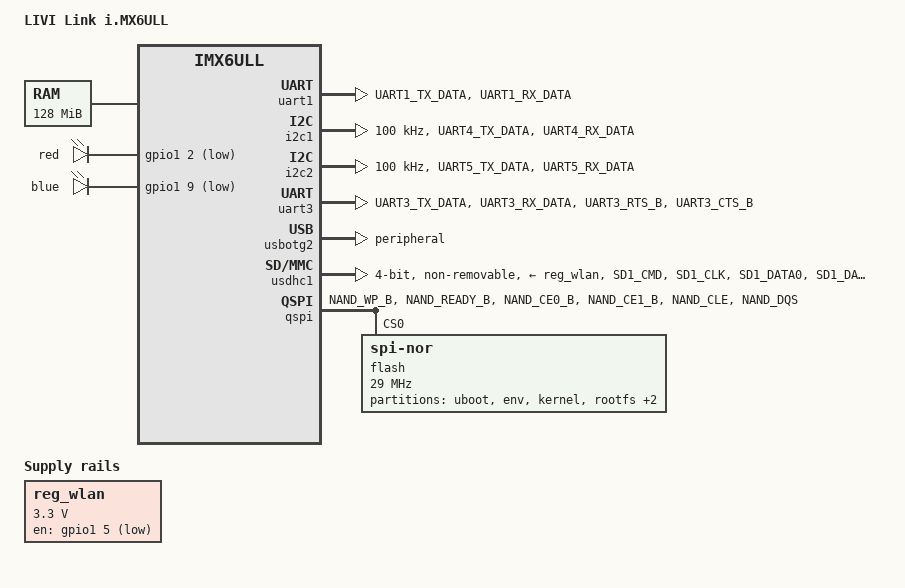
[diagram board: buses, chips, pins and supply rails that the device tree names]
// SPDX-License-Identifier: GPL-2.0
/*
 * LIVI Link on the i.MX6ULL dongle board (128 MiB, 16 MiB QSPI NOR). The board comes with
 * different Wi-Fi/BT modules, what differs is in imx6ull-<module>.dtsi, included at the end.
 * Pin settings are the ones the vendor kernel runs with, read off a running board.
 */
/dts-v1/;

#include <dt-bindings/gpio/gpio.h>
#include "imx6ull.dtsi"

/ {
	model = "LIVI Link i.MX6ULL";
	compatible = "livi,link-imx6ull", "fsl,imx6ull";

	chosen {
		stdout-path = &uart1;
		bootargs = "console=ttymxc0,115200 rdinit=/init";
	};

	memory@80000000 {
		device_type = "memory";
		reg = <0x80000000 0x08000000>;
	};

	/* Enables the Wi-Fi/BT module (PDn). */
	reg_wlan: regulator-wlan {
		compatible = "regulator-fixed";
		regulator-name = "wlan";
		regulator-min-microvolt = <3300000>;
		regulator-max-microvolt = <3300000>;
		gpio = <&gpio1 5 GPIO_ACTIVE_LOW>;
		startup-delay-us = <100000>;
	};

	leds {
		compatible = "gpio-leds";
		pinctrl-names = "default";
		pinctrl-0 = <&pinctrl_leds>;

		/* Red and blue is on from the kernel's start, livi-ledd takes over. */
		led-red {
			label = "red";
			gpios = <&gpio1 2 GPIO_ACTIVE_LOW>;
			default-state = "on";
		};

		led-blue {
			label = "blue";
			gpios = <&gpio1 9 GPIO_ACTIVE_LOW>;
			default-state = "on";
		};
	};
};

&iomuxc {
	pinctrl_uart1: uart1grp {
		fsl,pins = <
			MX6UL_PAD_UART1_TX_DATA__UART1_DCE_TX	0x1b0b1
			MX6UL_PAD_UART1_RX_DATA__UART1_DCE_RX	0x1b0b1
		>;
	};

	/* Both EVK buses, the MFi coprocessor sits on one of them. */
	pinctrl_i2c1: i2c1grp {
		fsl,pins = <
			MX6UL_PAD_UART4_TX_DATA__I2C1_SCL	0x4001b8b0
			MX6UL_PAD_UART4_RX_DATA__I2C1_SDA	0x4001b8b0
		>;
	};

	pinctrl_i2c2: i2c2grp {
		fsl,pins = <
			MX6UL_PAD_UART5_TX_DATA__I2C2_SCL	0x4001b8b0
			MX6UL_PAD_UART5_RX_DATA__I2C2_SDA	0x4001b8b0
		>;
	};

	pinctrl_uart3: uart3grp {
		fsl,pins = <
			MX6UL_PAD_UART3_TX_DATA__UART3_DCE_TX	0x1b0b1
			MX6UL_PAD_UART3_RX_DATA__UART3_DCE_RX	0x1b0b1
			MX6UL_PAD_UART3_RTS_B__UART3_DCE_RTS	0x1b0b1
			MX6UL_PAD_UART3_CTS_B__UART3_DCE_CTS	0x1b0b1
		>;
	};

	pinctrl_qspi: qspigrp {
		fsl,pins = <
			MX6UL_PAD_NAND_WP_B__QSPI_A_SCLK	0x70a1
			MX6UL_PAD_NAND_READY_B__QSPI_A_DATA00	0x70a1
			MX6UL_PAD_NAND_CE0_B__QSPI_A_DATA01	0x70a1
			MX6UL_PAD_NAND_CE1_B__QSPI_A_DATA02	0x70a1
			MX6UL_PAD_NAND_CLE__QSPI_A_DATA03	0x70a1
			MX6UL_PAD_NAND_DQS__QSPI_A_SS0_B	0x70a1
		>;
	};

	pinctrl_usdhc1: usdhc1grp {
		fsl,pins = <
			MX6UL_PAD_SD1_CMD__USDHC1_CMD		0x17059
			MX6UL_PAD_SD1_CLK__USDHC1_CLK		0x10071
			MX6UL_PAD_SD1_DATA0__USDHC1_DATA0	0x17059
			MX6UL_PAD_SD1_DATA1__USDHC1_DATA1	0x17059
			MX6UL_PAD_SD1_DATA2__USDHC1_DATA2	0x17059
			MX6UL_PAD_SD1_DATA3__USDHC1_DATA3	0x17059
			MX6UL_PAD_GPIO1_IO05__GPIO1_IO05	0x17059
		>;
	};

	pinctrl_leds: ledsgrp {
		fsl,pins = <
			MX6UL_PAD_GPIO1_IO02__GPIO1_IO02	0x17059
			MX6UL_PAD_GPIO1_IO09__GPIO1_IO09	0x17059
		>;
	};
};

&uart1 {
	pinctrl-names = "default";
	pinctrl-0 = <&pinctrl_uart1>;
	status = "okay";
};

&i2c1 {
	clock-frequency = <100000>;
	pinctrl-names = "default";
	pinctrl-0 = <&pinctrl_i2c1>;
	status = "okay";
};

&i2c2 {
	clock-frequency = <100000>;
	pinctrl-names = "default";
	pinctrl-0 = <&pinctrl_i2c2>;
	status = "okay";
};

/* The module's Bluetooth half, its node is in the module's .dtsi. */
&uart3 {
	pinctrl-names = "default";
	pinctrl-0 = <&pinctrl_uart3>;
	uart-has-rtscts;
	status = "okay";
};

/* The port the host sees. OTG1 is a host port with its ID pin grounded. */
&usbotg2 {
	dr_mode = "peripheral";
	disable-over-current;
	status = "okay";
};

&usdhc1 {
	pinctrl-names = "default";
	pinctrl-0 = <&pinctrl_usdhc1>;
	bus-width = <4>;
	no-1-8-v;
	non-removable;
	keep-power-in-suspend;
	vmmc-supply = <&reg_wlan>;
	status = "okay";
};

&qspi {
	pinctrl-names = "default";
	pinctrl-0 = <&pinctrl_qspi>;
	status = "okay";

	flash@0 {
		compatible = "jedec,spi-nor";
		reg = <0>;
		spi-max-frequency = <29000000>;
		spi-rx-bus-width = <1>;
		spi-tx-bus-width = <1>;

		partitions {
			compatible = "fixed-partitions";
			#address-cells = <1>;
			#size-cells = <1>;

			/* U-Boot, its signature and the update block. */
			partition@0 {
				label = "uboot";
				reg = <0x0 0x30000>;
				read-only;
			};

			/* Erasing it makes U-Boot convert the staged kernel on the next boot. */
			partition@30000 {
				label = "env";
				reg = <0x30000 0x10000>;
			};

			partition@40000 {
				label = "kernel";
				reg = <0x40000 0x340000>;
			};

			partition@380000 {
				label = "rootfs";
				reg = <0x380000 0xc60000>;
			};

			/* livid's saved settings, livid finds them by this name. */
			partition@fe0000 {
				label = "customer";
				reg = <0xfe0000 0x10000>;
			};

			/* Marks a rootfs boot that has not brought the ways in up yet (initramfs init, rcS). */
			partition@ff0000 {
				label = "bootstate";
				reg = <0xff0000 0x10000>;
			};
		};
	};
};

#include "imx6ull-livi-link-radio.dtsi"
